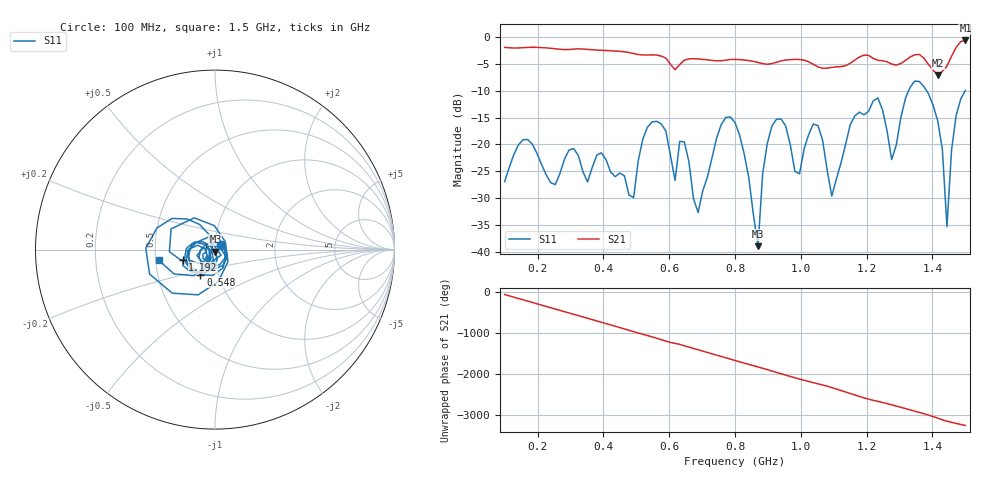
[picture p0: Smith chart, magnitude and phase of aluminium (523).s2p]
! NanoVNA-App
! Date: 2025-09-25 14:59:21
! Start: 100MHz Stop: 1,5GHz Points: 101
! S-Parameter data: F S11 S21 S12 S22
# Hz S RI R 50
!  Frequency  S11_Real  S11_Imag  S21_Real  S21_Imag  S12_Real  S12_Imag  S22_Real  S22_Imag
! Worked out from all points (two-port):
!   101 points, 100 MHz to 1.5 GHz, reference 50 ohm
!   highest |S21| = -0.62 dB at 1.5 GHz (marker M1); lowest = -7.1 dB at 1.416 GHz (marker M2)
!   |S21| within 3 dB of the highest: start of sweep to 579.3 MHz; 1.457 GHz to end of sweep (the widest 2 of 4)
!   lowest |S11| = -39.0 dB at 870 MHz (marker M3), VSWR 1.02, Z = 50.3 - j1.1 ohm
!   |S11| at or under -10 dB: start of sweep to 1.328 GHz; 1.382 GHz to 1.499 GHz (117.5 MHz wide, 8.15 % of centre)
!   S12 and S22 are empty: the file has one direction only
!   S11 on the Smith chart (normalised r, x): 100 MHz: 1.07, +0.06; 548 MHz: 0.82, -0.23; 1.192 GHz: 0.69, -0.08; 1.5 GHz: 0.52, -0.07
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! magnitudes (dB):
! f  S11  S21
! 100 MHz  -27.0  -1.9
! 156 MHz  -19.1  -2.0
! 338 MHz  -25.1  -2.2
! 492 MHz  -29.9  -3.1
! 548 MHz  -15.8  -3.3
! 576 MHz  -16.2  -3.5
! 646 MHz  -19.5  -4.3
! 688 MHz  -32.7  -4.1
! 800 MHz  -15.9  -4.1
! 870 MHz  -39.0  -4.7
! 912 MHz  -16.6  -4.9
! 996 MHz  -25.5  -4.2
! 1.038 GHz  -16.2  -5.1
! 1.094 GHz  -29.6  -5.7
! 1.192 GHz  -14.5  -3.4
! 1.234 GHz  -11.4  -4.3
! 1.276 GHz  -22.8  -5.0
! 1.346 GHz  -8.2  -3.3
! 1.416 GHz  -15.6  -7.1
! 1.444 GHz  -35.3  -5.4
! 1.472 GHz  -14.6  -1.9
! 1.5 GHz  -9.9  -0.6
